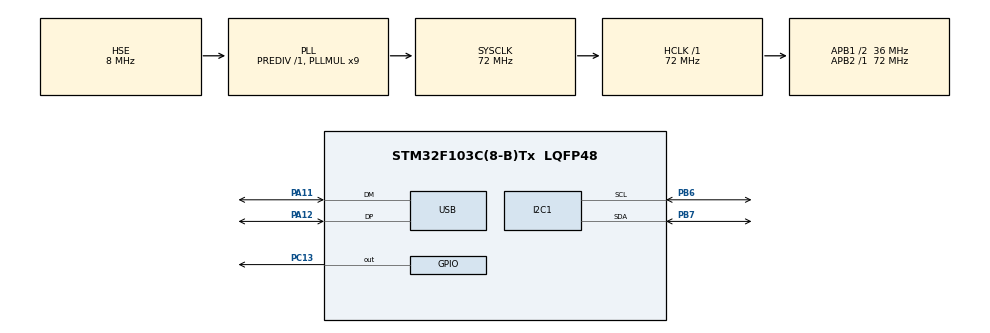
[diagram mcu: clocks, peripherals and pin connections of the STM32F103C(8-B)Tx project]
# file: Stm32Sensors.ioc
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Mcu.Family=STM32F1
Mcu.Name=STM32F103C(8-B)Tx
Mcu.Package=LQFP48
NVIC.PriorityGroup=NVIC_PRIORITYGROUP_4
NVIC.USB_LP_CAN1_RX0_IRQn=true\:0\:0\:false\:false\:true\:false\:true
PA11.Mode=Device
PA11.Signal=USB_DM
PA12.Mode=Device
PA12.Signal=USB_DP
PA13.Mode=Serial_Wire
PA13.Signal=SYS_JTMS-SWDIO
PA14.Mode=Serial_Wire
PA14.Signal=SYS_JTCK-SWCLK
PB6.Mode=I2C
PB6.Signal=I2C1_SCL
PB7.Mode=I2C
PB7.Signal=I2C1_SDA
PC13-TAMPER-RTC.Signal=GPIO_Output
PD0-OSC_IN.Mode=HSE-External-Oscillator
PD0-OSC_IN.Signal=RCC_OSC_IN
PD1-OSC_OUT.Mode=HSE-External-Oscillator
PD1-OSC_OUT.Signal=RCC_OSC_OUT
ProjectManager.HeapSize=0x200
ProjectManager.StackSize=0x400
ProjectManager.TargetToolchain=STM32CubeIDE
RCC.AHBFreq_Value=72000000
RCC.APB1CLKDivider=RCC_HCLK_DIV2
RCC.APB1Freq_Value=36000000
RCC.APB1TimFreq_Value=72000000
RCC.APB2Freq_Value=72000000
RCC.APB2TimFreq_Value=72000000
RCC.HCLKFreq_Value=72000000
RCC.PLLMUL=RCC_PLL_MUL9
RCC.SYSCLKFreq_VALUE=72000000
RCC.SYSCLKSource=RCC_SYSCLKSOURCE_PLLCLK
RCC.USBFreq_Value=48000000
RCC.USBPrescaler=RCC_USBCLKSOURCE_PLL_DIV1_5
USB_DEVICE.CLASS_NAME_FS=CDC
USB_DEVICE.VirtualMode=Cdc
USB_DEVICE.VirtualModeFS=Cdc_FS
VP_USB_DEVICE_VS_USB_DEVICE_CDC_FS.Mode=CDC_FS
board=custom

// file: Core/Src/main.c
/* USER CODE BEGIN Header */
/**
  ******************************************************************************
  * @file           : main.c
  * @brief          : Main program body
  ******************************************************************************
  * @attention
  *
  * <h2><center>&copy; Copyright (c) 2020 STMicroelectronics.
  * All rights reserved.</center></h2>
  *
  * This software component is licensed by ST under BSD 3-Clause license,
  * the "License"; You may not use this file except in compliance with the
  * License. You may obtain a copy of the License at:
  *                        opensource.org/licenses/BSD-3-Clause
  *
  ******************************************************************************
  */
/* USER CODE END Header */

#include "main.h"
#include "usb_device.h"

/* USER CODE BEGIN Includes */
#include "bmp280.h"
#include "usbd_cdc_if.h"
#include "fir.h"
#include <stdio.h>
/* USER CODE END Includes */

I2C_HandleTypeDef hi2c1;

void SystemClock_Config(void);
static void MX_GPIO_Init(void);
static void MX_I2C1_Init(void);
/* USER CODE BEGIN PFP */

void delay_ms(uint32_t period_ms);
int8_t i2c_reg_write(uint8_t i2c_addr, uint8_t reg_addr, uint8_t *reg_data, uint16_t length);
int8_t i2c_reg_read(uint8_t i2c_addr, uint8_t reg_addr, uint8_t *reg_data, uint16_t length);

/* USER CODE END PFP */

int main(void)
{

  /* MCU Configuration--------------------------------------------------------*/

  /* Reset of all peripherals, Initializes the Flash interface and the Systick. */
  HAL_Init();

  /* Configure the system clock */
  SystemClock_Config();

  /* Initialize all configured peripherals */
  MX_GPIO_Init();
  MX_I2C1_Init();
  MX_USB_DEVICE_Init();
  /* USER CODE BEGIN 2 */
  int8_t rslt;
  struct bmp280_dev bmp;
  struct bmp280_config conf;
  struct bmp280_uncomp_data ucomp_data;
  int32_t temp32;
  double temp;
  uint32_t pres32, pres64;
  double pres;
  uint8_t buf[100] = {};

  /* Map the delay function pointer with the function responsible for implementing the delay */
  bmp.delay_ms = delay_ms;

  /* Assign device I2C address based on the status of SDO pin (GND for PRIMARY(0x76) & VDD for SECONDARY(0x77)) */
  bmp.dev_id = BMP280_I2C_ADDR_PRIM;

  /* Select the interface mode as I2C */
  bmp.intf = BMP280_I2C_INTF;

  /* Map the I2C read & write function pointer with the functions responsible for I2C bus transfer */
  bmp.read = i2c_reg_read;
  bmp.write = i2c_reg_write;
  rslt = bmp280_init(&bmp);
  /* Always read the current settings before writing, especially when
   * all the configuration is not modified
   */
  rslt = bmp280_get_config(&conf, &bmp);

  /* configuring the temperature oversampling, filter coefficient and output data rate */
  /* Overwrite the desired settings */
  conf.filter = BMP280_FILTER_COEFF_2;

  /* Pressure oversampling set at 4x */
  conf.os_pres = BMP280_OS_4X;

  /* Setting the output data rate as 1HZ(1000ms) */
  conf.odr = BMP280_ODR_0_5_MS; // BMP280_ODR_1000_MS;
  rslt = bmp280_set_config(&conf, &bmp);

  /* Always set the power mode after setting the configuration */
  rslt = bmp280_set_power_mode(BMP280_NORMAL_MODE, &bmp);
  /* USER CODE END 2 */

  /* Infinite loop */
  while (1)
  {

    /* USER CODE BEGIN 3 */

	/* Temperature */
    /* Reading the raw data from sensor */
	rslt = bmp280_get_uncomp_data(&ucomp_data, &bmp);

	/* Getting the 32 bit compensated temperature */
	rslt = bmp280_get_comp_temp_32bit(&temp32, ucomp_data.uncomp_temp, &bmp);

	/* Getting the compensated temperature as floating point value */
	rslt = bmp280_get_comp_temp_double(&temp, ucomp_data.uncomp_temp, &bmp);

	/* Pressure */
	/* Reading the raw data from sensor */
    rslt = bmp280_get_uncomp_data(&ucomp_data, &bmp);

	/* Getting the compensated pressure using 32 bit precision */
	rslt = bmp280_get_comp_pres_32bit(&pres32, ucomp_data.uncomp_press, &bmp);

	/* Getting the compensated pressure using 64 bit precision */
	rslt = bmp280_get_comp_pres_64bit(&pres64, ucomp_data.uncomp_press, &bmp);

	/* Getting the compensated pressure as floating point value */
	rslt = bmp280_get_comp_pres_double(&pres, ucomp_data.uncomp_press, &bmp);
	snprintf((char *)buf, sizeof(buf), "T: %f P: %f \r\n", temp, pres);
	CDC_Transmit_FS(buf, sizeof(buf));

	// bmp.delay_ms(1000); /* Sleep time between measurements = BMP280_ODR_1000_MS */

	HAL_GPIO_TogglePin(GPIOC, GPIO_PIN_13);
  }
  /* USER CODE END 3 */
}

void SystemClock_Config(void)
{
  RCC_OscInitTypeDef RCC_OscInitStruct = {0};
  RCC_ClkInitTypeDef RCC_ClkInitStruct = {0};
  RCC_PeriphCLKInitTypeDef PeriphClkInit = {0};

  /** Initializes the CPU, AHB and APB busses clocks
  */
  RCC_OscInitStruct.OscillatorType = RCC_OSCILLATORTYPE_HSE;
  RCC_OscInitStruct.HSEState = RCC_HSE_ON;
  RCC_OscInitStruct.HSEPredivValue = RCC_HSE_PREDIV_DIV1;
  RCC_OscInitStruct.HSIState = RCC_HSI_ON;
  RCC_OscInitStruct.PLL.PLLState = RCC_PLL_ON;
  RCC_OscInitStruct.PLL.PLLSource = RCC_PLLSOURCE_HSE;
  RCC_OscInitStruct.PLL.PLLMUL = RCC_PLL_MUL9;
  if (HAL_RCC_OscConfig(&RCC_OscInitStruct) != HAL_OK)
  {
    Error_Handler();
  }
  /** Initializes the CPU, AHB and APB busses clocks
  */
  RCC_ClkInitStruct.ClockType = RCC_CLOCKTYPE_HCLK|RCC_CLOCKTYPE_SYSCLK
                              |RCC_CLOCKTYPE_PCLK1|RCC_CLOCKTYPE_PCLK2;
  RCC_ClkInitStruct.SYSCLKSource = RCC_SYSCLKSOURCE_PLLCLK;
  RCC_ClkInitStruct.AHBCLKDivider = RCC_SYSCLK_DIV1;
  RCC_ClkInitStruct.APB1CLKDivider = RCC_HCLK_DIV2;
  RCC_ClkInitStruct.APB2CLKDivider = RCC_HCLK_DIV1;

  if (HAL_RCC_ClockConfig(&RCC_ClkInitStruct, FLASH_LATENCY_2) != HAL_OK)
  {
    Error_Handler();
  }
  PeriphClkInit.PeriphClockSelection = RCC_PERIPHCLK_USB;
  PeriphClkInit.UsbClockSelection = RCC_USBCLKSOURCE_PLL_DIV1_5;
  if (HAL_RCCEx_PeriphCLKConfig(&PeriphClkInit) != HAL_OK)
  {
    Error_Handler();
  }
}

static void MX_I2C1_Init(void)
{

  hi2c1.Instance = I2C1;
  hi2c1.Init.ClockSpeed = 100000;
  hi2c1.Init.DutyCycle = I2C_DUTYCYCLE_2;
  hi2c1.Init.OwnAddress1 = 0;
  hi2c1.Init.AddressingMode = I2C_ADDRESSINGMODE_7BIT;
  hi2c1.Init.DualAddressMode = I2C_DUALADDRESS_DISABLE;
  hi2c1.Init.OwnAddress2 = 0;
  hi2c1.Init.GeneralCallMode = I2C_GENERALCALL_DISABLE;
  hi2c1.Init.NoStretchMode = I2C_NOSTRETCH_DISABLE;
  if (HAL_I2C_Init(&hi2c1) != HAL_OK)
  {
    Error_Handler();
  }

}

static void MX_GPIO_Init(void)
{
  GPIO_InitTypeDef GPIO_InitStruct = {0};

  /* GPIO Ports Clock Enable */
  __HAL_RCC_GPIOC_CLK_ENABLE();
  __HAL_RCC_GPIOD_CLK_ENABLE();
  __HAL_RCC_GPIOA_CLK_ENABLE();
  __HAL_RCC_GPIOB_CLK_ENABLE();

  /*Configure GPIO pin Output Level */
  HAL_GPIO_WritePin(GPIOC, GPIO_PIN_13, GPIO_PIN_RESET);

  /*Configure GPIO pin : PC13 */
  GPIO_InitStruct.Pin = GPIO_PIN_13;
  GPIO_InitStruct.Mode = GPIO_MODE_OUTPUT_PP;
  GPIO_InitStruct.Pull = GPIO_NOPULL;
  GPIO_InitStruct.Speed = GPIO_SPEED_FREQ_LOW;
  HAL_GPIO_Init(GPIOC, &GPIO_InitStruct);

}

/* USER CODE BEGIN 4 */

/*!
 *  @brief Function that creates a mandatory delay required in some of the APIs such as "bmg250_soft_reset",
 *      "bmg250_set_foc", "bmg250_perform_self_test"  and so on.
 *
 *  @param[in] period_ms  : the required wait time in milliseconds.
 *  @return void.
 *
 */
void delay_ms(uint32_t period_ms)
{
    HAL_Delay(period_ms);
}

/*!
 *  @brief Function for writing the sensor's registers through I2C bus.
 *
 *  @param[in] i2c_addr : sensor I2C address.
 *  @param[in] reg_addr : Register address.
 *  @param[in] reg_data : Pointer to the data buffer whose value is to be written.
 *  @param[in] length   : No of bytes to write.
 *
 *  @return Status of execution
 *  @retval 0 -> Success
 *  @retval >0 -> Failure Info
 *
 */
int8_t i2c_reg_write(uint8_t i2c_addr, uint8_t reg_addr, uint8_t *reg_data, uint16_t length)
{
	HAL_StatusTypeDef result = HAL_I2C_Mem_Write(&hi2c1, i2c_addr << 1, reg_addr, 1, reg_data, length, 200);
	return (int8_t)result;
}

/*!
 *  @brief Function for reading the sensor's registers through I2C bus.
 *
 *  @param[in] i2c_addr : Sensor I2C address.
 *  @param[in] reg_addr : Register address.
 *  @param[out] reg_data    : Pointer to the data buffer to store the read data.
 *  @param[in] length   : No of bytes to read.
 *
 *  @return Status of execution
 *  @retval 0 -> Success
 *  @retval >0 -> Failure Info
 *
 */
int8_t i2c_reg_read(uint8_t i2c_addr, uint8_t reg_addr, uint8_t *reg_data, uint16_t length)
{
	HAL_StatusTypeDef result = HAL_I2C_Mem_Read(&hi2c1, i2c_addr << 1, reg_addr, 1, reg_data, length, 200);
	return (int8_t)result;
}

/* USER CODE END 4 */

void Error_Handler(void)
{
}

/************************ (C) COPYRIGHT STMicroelectronics *****END OF FILE****/
